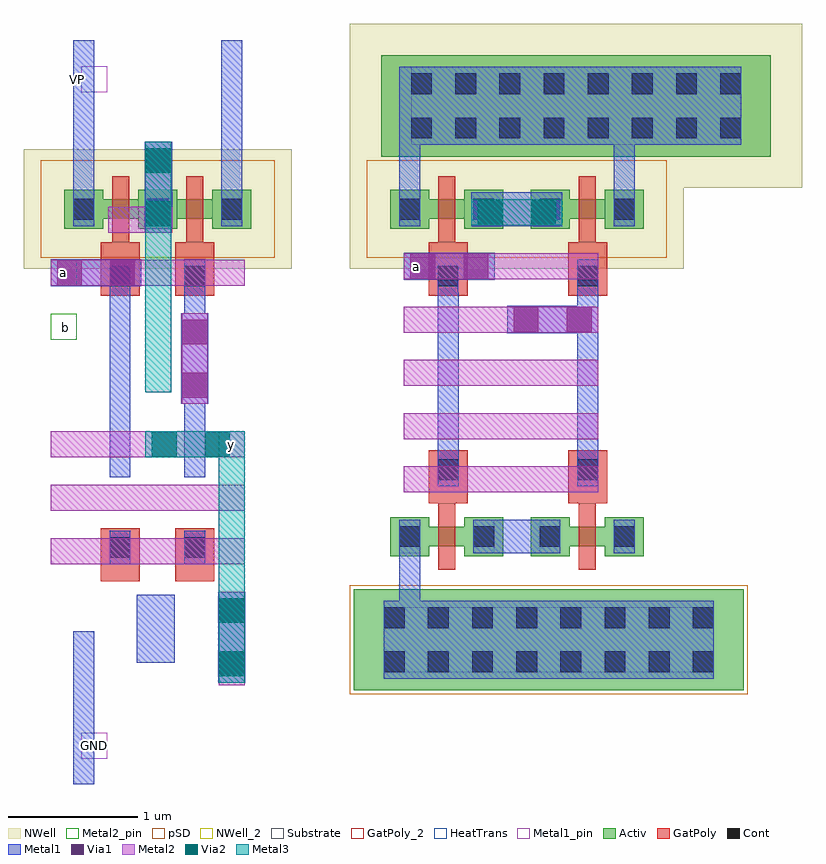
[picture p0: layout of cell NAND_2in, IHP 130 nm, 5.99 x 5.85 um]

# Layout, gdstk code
from math import pi, radians
import gdstk
lib = gdstk.Library(unit=1e-6, precision=1e-09)
def R(c, l, rs):  # rectangles x0, y0, x1, y1
    for r in rs: c.add(gdstk.rectangle(r[:2], r[2:], *l))
def A(c, l, x, y, w, h, nx, ny, dx, dy):  # array of equal rectangles
    R(c, l, [(x+i*dx, y+j*dy, x+i*dx+w, y+j*dy+h) for i in range(nx) for j in range(ny)])
Activ = (1, 0)
GatPoly = (5, 0)
GatPoly_2 = (5, 2)
Cont = (6, 0)
Metal1 = (8, 0)
Metal1_pin = (8, 2)
Metal2 = (10, 0)
Metal2_pin = (10, 2)
pSD = (14, 0)
Via1 = (19, 0)
Via2 = (29, 0)
Metal3 = (30, 0)
NWell = (31, 0)
NWell_2 = (31, 2)
Substrate = (40, 0)
HeatTrans = (51, 0)

via_4 = lib.new_cell('Via$4')
R(via_4, Metal2, [(-0.1,-0.35,0.1,0.35)])
R(via_4, Via2, [(-0.095,-0.3,0.095,-0.11), (-0.095,0.11,0.095,0.3)])
R(via_4, Metal3, [(-0.1,-0.35,0.1,0.35)])

via_2 = lib.new_cell('Via$2')
R(via_2, Metal1, [(-0.105,-0.35,0.105,0.35)])
R(via_2, Metal2, [(-0.1,-0.35,0.1,0.35)])
R(via_2, Via1, [(-0.095,-0.3,0.095,-0.11), (-0.095,0.11,0.095,0.3)])

via = lib.new_cell('Via')
R(via, GatPoly, [(-0.15,-0.15,0.15,0.15)])
R(via, Cont, [(-0.08,-0.08,0.08,0.08)])
R(via, Metal1, [(-0.13,-0.08,0.13,0.08)])

pmos = lib.new_cell('pmos')
R(pmos, Activ, [(0,0,0.3,0.3), (0.57,0,0.87,0.3), (0,0.075,0.87,0.225)])
R(pmos, GatPoly, [(0.37,-0.105,0.5,0.405), (0.37,-0.105,0.5,0.405)])
R(pmos, Cont, [(0.07,0.07,0.23,0.23), (0.64,0.07,0.8,0.23)])
R(pmos, Metal1, [(0.07,0.02,0.23,0.28), (0.07,0.02,0.23,0.28), (0.64,0.02,0.8,0.28), (0.64,0.02,0.8,0.28)])
R(pmos, pSD, [(-0.18,-0.225,1.05,0.525)])
R(pmos, NWell, [(-0.31,-0.31,1.18,0.61)])
R(pmos, Substrate, [(0.57,0,0.87,0.3)])
R(pmos, HeatTrans, [(0.37,-0.105,0.5,0.405)])
pmos.add(gdstk.Label('pmos', (0.435,0.15), layer=63, texttype=0))
pmos.add(gdstk.Label('pmos', (0.435,0.15), layer=51, texttype=0))

ntap1 = lib.new_cell('ntap1')
R(ntap1, Activ, [(0,0,3,0.78)])
A(ntap1, Cont, 0.23, 0.14, 0.16, 0.16, 8, 2, 0.34, 0.34)
R(ntap1, Metal1, [(0.23,0.09,2.77,0.69)])
R(ntap1, Metal1_pin, [(0.23,0.09,2.77,0.69), (0.23,0.14,2.77,0.64)])
R(ntap1, NWell, [(-0.24,-0.24,3.24,1.02), (0,0,3,0.78)])
R(ntap1, NWell_2, [(0,0,3,0.78)])
ntap1.add(gdstk.Label('well', (1.5,0.01), layer=63, texttype=0))
ntap1.add(gdstk.Label('well', (1.5,0.01), layer=31, texttype=0))

via_7 = lib.new_cell('Via$7')
R(via_7, Metal2, [(-0.35,-0.1,0.35,0.1)])
R(via_7, Via2, [(-0.3,-0.095,-0.11,0.095), (0.11,-0.095,0.3,0.095)])
R(via_7, Metal3, [(-0.35,-0.1,0.35,0.1)])

ptap1 = lib.new_cell('ptap1')
R(ptap1, Activ, [(0,0,3,0.78)])
A(ptap1, Cont, 0.23, 0.14, 0.16, 0.16, 8, 2, 0.34, 0.34)
R(ptap1, Metal1, [(0.23,0.09,2.77,0.69), (0.23,0.14,2.77,0.64)])
R(ptap1, Metal1_pin, [(0.23,0.14,2.77,0.64)])
R(ptap1, pSD, [(-0.03,-0.03,3.03,0.81)])
R(ptap1, Substrate, [(0,0,3,0.78)])
ptap1.add(gdstk.Label('sub!', (1.5,0.01), layer=63, texttype=0))
ptap1.add(gdstk.Label('sub!', (1.5,0.01), layer=40, texttype=0))

nmos = lib.new_cell('nmos')
R(nmos, Activ, [(0,0,0.3,0.3), (0.57,0,0.87,0.3), (0,0.075,0.87,0.225)])
R(nmos, GatPoly, [(0.37,-0.105,0.5,0.405)])
R(nmos, GatPoly_2, [(0.37,-0.105,0.5,0.405)])
R(nmos, Cont, [(0.07,0.07,0.23,0.23), (0.64,0.07,0.8,0.23)])
R(nmos, Metal1, [(0.07,0.02,0.23,0.28), (0.64,0.02,0.8,0.28)])
R(nmos, Metal1_pin, [(0.07,0.02,0.23,0.28), (0.64,0.02,0.8,0.28)])
R(nmos, HeatTrans, [(0.37,-0.105,0.5,0.405)])
nmos.add(gdstk.Label('nmos', (0.435,0.15), layer=63, texttype=0))
nmos.add(gdstk.Label('nmos', (0.435,0.15), layer=51, texttype=0))

via_6 = lib.new_cell('Via$6')
R(via_6, Metal1, [(-0.35,-0.105,0.35,0.105)])
R(via_6, Metal2, [(-0.35,-0.1,0.35,0.1)])
R(via_6, Via1, [(-0.3,-0.095,-0.11,0.095), (0.11,-0.095,0.3,0.095)])

nand_2in = lib.new_cell('NAND_2in')
R(nand_2in, GatPoly, [(6.865,6.565,7.165,6.675), (7.44,6.565,7.74,6.675), (9.391,7.165,9.691,7.275), (10.466,7.165,10.766,7.275), (6.865,9.065,7.165,9.175), (7.44,9.065,7.74,9.175), (9.39,9.065,9.69,9.175), (10.465,9.065,10.765,9.175)])
R(nand_2in, Metal1, [(7.145,5.94,7.435,6.46), (9.735,6.78,10.405,7.04), (9.72,9.3,10.42,9.56)])
R(nand_2in, Metal1_pin, [(6.715,5.2,6.915,5.4), (6.715,10.33,6.915,10.53)])
R(nand_2in, Metal2_pin, [(7.775,7.52,7.975,7.72), (6.48,8.425,6.68,8.625), (6.48,8.84,6.68,9.04), (9.2,8.89,9.4,9.09)])
nand_2in.add(gdstk.FlexPath([(7.875,10.13),(7.875,10.73)], 0.16, ends="flush", simple_path=True, layer=8, datatype=0))  # Metal1
nand_2in.add(gdstk.FlexPath([(6.735,10.13),(6.735,10.73)], 0.16, ends="flush", simple_path=True, layer=8, datatype=0))  # Metal1
nand_2in.add(gdstk.FlexPath([(7.59,8.435),(7.59,8.785)], 0.16, ends="flush", simple_path=True, layer=8, datatype=0))  # Metal1
nand_2in.add(gdstk.FlexPath([(7.015,8.785),(7.015,8.565)], 0.16, ends="flush", simple_path=True, layer=8, datatype=0))  # Metal1
nand_2in.add(gdstk.FlexPath([(7.875,9.56),(7.875,10.73)], 0.16, ends="flush", simple_path=True, layer=8, datatype=0))  # Metal1
nand_2in.add(gdstk.FlexPath([(6.735,9.56),(6.735,10.73)], 0.16, ends="flush", simple_path=True, layer=8, datatype=0))  # Metal1
nand_2in.add(gdstk.FlexPath([(7.015,8.65),(7.015,8.65)], 0.16, ends="flush", simple_path=True, layer=8, datatype=0))  # Metal1
nand_2in.add(gdstk.FlexPath([(7.59,7.365),(7.59,8.545)], 0.16, ends="flush", simple_path=True, layer=8, datatype=0))  # Metal1
nand_2in.add(gdstk.FlexPath([(7.015,7.365),(7.015,8.675)], 0.16, ends="flush", simple_path=True, layer=8, datatype=0))  # Metal1
nand_2in.add(gdstk.FlexPath([(6.735,6.18),(6.735,5.605)], 0.16, ends="flush", simple_path=True, layer=8, datatype=0))  # Metal1
nand_2in.add(gdstk.FlexPath([(7.875,6.135),(7.875,6.135)], 0.16, ends="flush", simple_path=True, layer=8, datatype=0))  # Metal1
nand_2in.add(gdstk.FlexPath([(6.735,5.605),(6.735,5.005)], 0.16, ends="flush", simple_path=True, layer=8, datatype=0))  # Metal1
nand_2in.add(gdstk.FlexPath([(9.245,9.56),(9.245,10.525)], 0.16, ends="flush", simple_path=True, layer=8, datatype=0))  # Metal1
nand_2in.add(gdstk.FlexPath([(10.895,9.56),(10.895,10.525)], 0.16, ends="flush", simple_path=True, layer=8, datatype=0))  # Metal1
nand_2in.add(gdstk.FlexPath([(9.245,6.78),(9.245,6.415)], 0.16, ends="flush", simple_path=True, layer=8, datatype=0))  # Metal1
nand_2in.add(gdstk.FlexPath([(9.541,7.555),(9.541,8.785)], 0.16, ends="flush", simple_path=True, layer=8, datatype=0))  # Metal1
nand_2in.add(gdstk.FlexPath([(10.616,7.555),(10.616,8.785)], 0.16, ends="flush", simple_path=True, layer=8, datatype=0))  # Metal1
nand_2in.add(gdstk.FlexPath([(6.48,8.94),(7.975,8.94)], 0.2, ends="flush", simple_path=True, layer=10, datatype=0))  # Metal2
nand_2in.add(gdstk.FlexPath([(7.415,9.35),(6.925,9.35)], 0.2, ends="flush", simple_path=True, layer=10, datatype=0))  # Metal2
nand_2in.add(gdstk.FlexPath([(6.48,6.795),(7.975,6.795)], 0.2, ends="flush", simple_path=True, layer=10, datatype=0))  # Metal2
nand_2in.add(gdstk.FlexPath([(7.875,5.865),(7.875,5.765)], 0.2, ends="flush", simple_path=True, layer=10, datatype=0))  # Metal2
nand_2in.add(gdstk.FlexPath([(6.48,7.21),(7.975,7.21)], 0.2, ends="flush", simple_path=True, layer=10, datatype=0))  # Metal2
nand_2in.add(gdstk.FlexPath([(9.2,8.99),(10.695,8.99)], 0.2, ends="flush", simple_path=True, layer=10, datatype=0))  # Metal2
nand_2in.add(gdstk.FlexPath([(6.48,7.62),(7.975,7.62)], 0.2, ends="flush", simple_path=True, layer=10, datatype=0))  # Metal2
nand_2in.add(gdstk.FlexPath([(7.875,6.135),(7.875,6.135)], 0.2, ends="flush", simple_path=True, layer=10, datatype=0))  # Metal2
nand_2in.add(gdstk.FlexPath([(9.2,8.58),(10.695,8.58)], 0.2, ends="flush", simple_path=True, layer=10, datatype=0))  # Metal2
nand_2in.add(gdstk.FlexPath([(9.2,8.17),(10.695,8.17)], 0.2, ends="flush", simple_path=True, layer=10, datatype=0))  # Metal2
nand_2in.add(gdstk.FlexPath([(9.2,7.76),(10.695,7.76)], 0.2, ends="flush", simple_path=True, layer=10, datatype=0))  # Metal2
nand_2in.add(gdstk.FlexPath([(9.2,7.35),(10.695,7.35)], 0.2, ends="flush", simple_path=True, layer=10, datatype=0))  # Metal2
nand_2in.add(gdstk.FlexPath([(10.43,8.58),(10.43,8.58)], 0.2, ends="flush", simple_path=True, layer=10, datatype=0))  # Metal2
nand_2in.add(gdstk.FlexPath([(7.31,9.39),(7.31,8.02)], 0.2, ends="flush", simple_path=True, layer=30, datatype=0))  # Metal3
nand_2in.add(gdstk.FlexPath([(7.875,6.34),(7.875,7.72)], 0.2, ends="flush", simple_path=True, layer=30, datatype=0))  # Metal3
nand_2in.add(gdstk.FlexPath([(7.02,9.175),(7.02,9.175)], 0.16, ends="flush", simple_path=True, layer=5, datatype=0))  # GatPoly
nand_2in.add(gdstk.Reference(via_4, (7.31,9.6)))
nand_2in.add(gdstk.Reference(via_2, (7.31,9.6)))
nand_2in.add(gdstk.Reference(via, (7.59,8.915), rotation=pi/2))
nand_2in.add(gdstk.Reference(pmos, (7.155,9.28)))
nand_2in.add(gdstk.Reference(ntap1, (9.025,9.835)))
nand_2in.add(gdstk.Reference(pmos, (6.585,9.28)))
nand_2in.add(gdstk.Reference(via_2, (7.875,6.135), rotation=pi))
nand_2in.add(gdstk.Reference(via_4, (7.875,6.135), rotation=pi))
nand_2in.add(gdstk.Reference(via_7, (7.56,7.62)))
nand_2in.add(gdstk.Reference(via, (7.015,6.825), rotation=3*pi/2))
nand_2in.add(gdstk.Reference(via, (7.59,6.825), rotation=3*pi/2))
nand_2in.add(gdstk.Reference(ptap1, (8.815,5.725)))
nand_2in.add(gdstk.Reference(nmos, (10.175,6.76)))
nand_2in.add(gdstk.Reference(nmos, (9.095,6.76)))
nand_2in.add(gdstk.Reference(via_2, (7.59,8.28), rotation=pi))
nand_2in.add(gdstk.Reference(via, (7.015,8.915), rotation=pi/2))
nand_2in.add(gdstk.Reference(pmos, (10.175,9.28)))
nand_2in.add(gdstk.Reference(pmos, (9.095,9.28)))
nand_2in.add(gdstk.Reference(via, (9.54,8.915), rotation=pi/2))
nand_2in.add(gdstk.Reference(via, (10.615,8.915), rotation=pi/2))
nand_2in.add(gdstk.Reference(via_2, (6.83,8.94), rotation=3*pi/2))
nand_2in.add(gdstk.Reference(via, (10.616,7.425), rotation=3*pi/2))
nand_2in.add(gdstk.Reference(via, (9.541,7.425), rotation=3*pi/2))
nand_2in.add(gdstk.Reference(via_4, (10.07,9.405), rotation=3*pi/2))
nand_2in.add(gdstk.Reference(via_2, (10.07,9.405), rotation=3*pi/2))
nand_2in.add(gdstk.Reference(via_2, (9.55,8.99), rotation=3*pi/2))
nand_2in.add(gdstk.Reference(via_6, (10.345,8.58)))
nand_2in.add(gdstk.Label('b', (6.595,8.52), layer=10, texttype=25))
nand_2in.add(gdstk.Label('y', (7.875,7.62), layer=10, texttype=25))
nand_2in.add(gdstk.Label('a', (6.58,8.94), layer=10, texttype=25))
nand_2in.add(gdstk.Label('a', (9.3,8.99), layer=10, texttype=25))
nand_2in.add(gdstk.Label('VP', (6.685,10.43), layer=8, texttype=25))
nand_2in.add(gdstk.Label('GND', (6.815,5.3), layer=8, texttype=25))

lib.write_gds('NAND_2in.gds')
